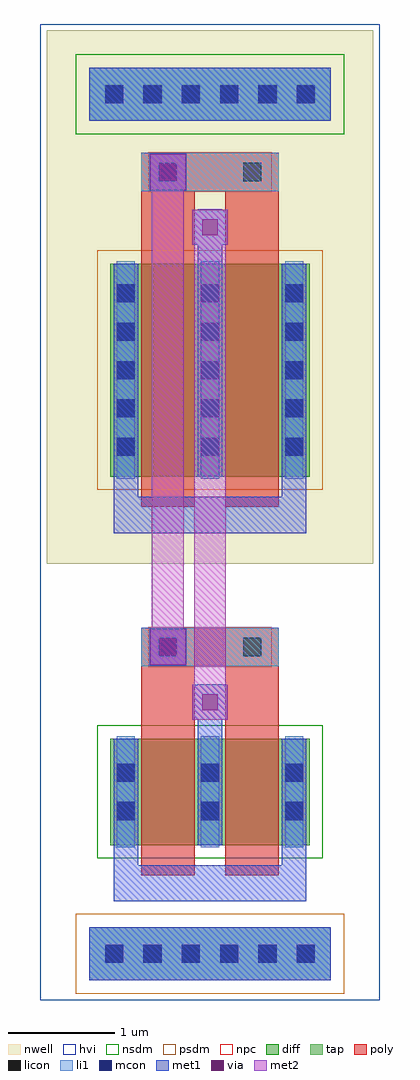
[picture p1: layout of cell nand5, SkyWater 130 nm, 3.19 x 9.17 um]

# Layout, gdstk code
import gdstk
lib = gdstk.Library(unit=1e-6, precision=1e-09)
def R(c, l, rs):  # rectangles x0, y0, x1, y1
    for r in rs: c.add(gdstk.rectangle(r[:2], r[2:], *l))
def A(c, l, x, y, w, h, nx, ny, dx, dy):  # array of equal rectangles
    R(c, l, [(x+i*dx, y+j*dy, x+i*dx+w, y+j*dy+h) for i in range(nx) for j in range(ny)])
def P(c, l, *ps):  # polygons
    for p in ps: c.add(gdstk.Polygon(p, *l))
nwell = (64, 20)
diff = (65, 20)
tap = (65, 44)
poly = (66, 20)
licon = (66, 44)
li1 = (67, 20)
mcon = (67, 44)
met1 = (68, 20)
via = (68, 44)
met2 = (69, 20)
hvi = (75, 20)
nsdm = (93, 44)
psdm = (94, 20)
npc = (95, 20)

nand5 = lib.new_cell('nand5')
R(nand5, nwell, [(-0.4,3.91,2.67,8.92)])
R(nand5, diff, [(0.2,1.27,2.07,2.27), (0.2,4.73,2.07,6.73)])
R(nand5, tap, [(0,0,2.27,0.5), (0,8.07,2.27,8.57)])
R(nand5, poly, [(0.49,0.985,0.99,2.555), (1.28,0.985,1.78,2.555), (0.49,2.27,0.99,3.13), (1.28,2.27,1.78,3.13), (0.49,2.95,1.78,3.31), (0.49,4.445,0.99,7.015), (1.28,4.445,1.78,7.015), (0.49,6.73,0.99,7.59), (1.28,6.73,1.78,7.59), (0.49,7.41,1.78,7.77)])
A(nand5, licon, 0.15, 0.165, 0.17, 0.17, 6, 2, 0.36, 8.07)
A(nand5, licon, 0.26, 1.505, 0.17, 0.17, 3, 2, 0.79, 0.36)
A(nand5, licon, 0.26, 4.925, 0.17, 0.17, 3, 5, 0.79, 0.36)
R(nand5, licon, [(0.655,3.045,0.825,3.215), (1.445,3.045,1.615,3.215), (0.655,7.505,0.825,7.675), (1.445,7.505,1.615,7.675)])
A(nand5, li1, 0.26, 1.25, 0.17, 1.04, 3, 1, 0.79, 0)
A(nand5, li1, 0.26, 4.71, 0.17, 2.04, 3, 1, 0.79, 0)
R(nand5, li1, [(0,0,2.27,0.5), (0.49,2.95,1.78,3.31), (0.49,7.41,1.78,7.77), (0,8.07,2.27,8.57)])
A(nand5, mcon, 0.15, 0.165, 0.17, 0.17, 6, 2, 0.36, 8.07)
A(nand5, mcon, 0.26, 1.505, 0.17, 0.17, 3, 2, 0.79, 0.36)
A(nand5, mcon, 0.26, 4.925, 0.17, 0.17, 3, 5, 0.79, 0.36)
R(nand5, mcon, [(0.655,3.045,0.825,3.215), (0.655,7.505,0.825,7.675)])
A(nand5, met1, 0.23, 1.27, 0.23, 1, 3, 1, 0.79, 0)
A(nand5, met1, 0.23, 4.73, 0.23, 2, 3, 1, 0.79, 0)
R(nand5, met1, [(0,0,2.27,0.5), (0.23,0.74,0.46,1.27), (0.23,0.74,2.04,1.08), (1.81,0.74,2.04,1.27), (1.02,2.27,1.25,2.78), (1.02,2.44,1.25,2.78), (0.97,2.445,1.3,2.775), (0.57,2.96,0.91,3.3), (0.575,2.965,0.905,3.295), (0.23,4.2,0.46,4.73), (0.23,4.2,2.04,4.54), (1.81,4.2,2.04,4.73), (1.02,6.73,1.25,7.24), (1.02,6.9,1.25,7.24), (0.97,6.905,1.3,7.235), (0.57,7.42,0.91,7.76), (0.575,7.425,0.905,7.755), (0,8.07,2.27,8.57)])
P(nand5, met1, [(1.135,2.44),(1.135,2.78),(1.135,2.78),(1.135,2.44)],
  [(1.135,6.9),(1.135,7.24),(1.135,7.24),(1.135,6.9)])
R(nand5, via, [(1.06,2.535,1.21,2.685), (0.665,3.055,0.815,3.205), (1.06,6.995,1.21,7.145), (0.665,7.515,0.815,7.665)])
R(nand5, met2, [(0.97,2.445,1.3,2.775), (0.985,2.61,1.285,7.07), (0.575,2.965,0.905,3.295), (0.59,3.13,0.89,7.59), (0.97,6.905,1.3,7.235), (0.575,7.425,0.905,7.755)])
R(nand5, hvi, [(-0.46,-0.185,2.73,8.98)])
R(nand5, nsdm, [(0.075,1.145,2.195,2.395), (-0.125,7.945,2.395,8.695)])
R(nand5, psdm, [(-0.125,-0.125,2.395,0.625), (0.075,4.605,2.195,6.855)])
R(nand5, npc, [(0.555,2.945,1.715,3.315), (0.555,7.405,1.715,7.775)])

lib.write_gds('nand5.gds')
